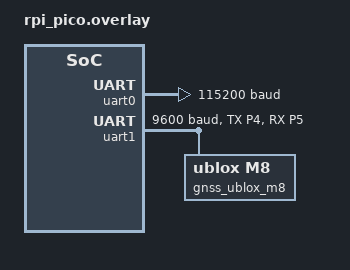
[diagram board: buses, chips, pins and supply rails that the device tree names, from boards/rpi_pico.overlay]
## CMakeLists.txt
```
cmake_minimum_required(VERSION 3.20)

find_package(Zephyr REQUIRED HINTS $ENV{ZEPHYR_BASE})
project(test_rpi_pico_ublox_gnss_dma)

target_sources(app PRIVATE src/main.c)
```

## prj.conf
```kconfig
CONFIG_PRINTK=y
CONFIG_LOG=y
CONFIG_LOG_DEFAULT_LEVEL=3

CONFIG_SERIAL=y
CONFIG_UART_ASYNC_API=y
CONFIG_UART_LINE_CTRL=y
CONFIG_UART_CONSOLE=y

CONFIG_TIMING_FUNCTIONS=y

CONFIG_DMA=y

CONFIG_RING_BUFFER=y
```

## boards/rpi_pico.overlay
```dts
/ {
    chosen {
        zephyr,console = &uart0;
        zephyr,shell-uart = &uart0;
        zephyr,gnss-uart = &uart1;
    };
};

&uart0 {
    status = "okay";
    current-speed = <115200>;
};

&uart1 {
    status = "okay";
    current-speed = <9600>;
    dma-coherent;

    pinctrl-0 = <&uart1_default>;
    pinctrl-names = "default";

    gnss_ublox_m8: ublox_m8 {
        compatible = "ublox,m8";
        status = "okay";
    };
};

&pinctrl {
    uart1_default: uart_default {
        group1 {
            pinmux = <UART1_TX_P4>;
        };
        group2 {
            pinmux = <UART1_RX_P5>;
            input-enable;
        };
    };
};
```

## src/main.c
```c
#include <zephyr/kernel.h>
#include <zephyr/device.h>
#include <zephyr/drivers/uart.h>
#include <zephyr/logging/log.h>

#include <zephyr/timing/timing.h>

#include <string.h>

LOG_MODULE_REGISTER(main);

static const struct device *gnss_uart_dev = DEVICE_DT_GET(DT_CHOSEN(zephyr_gnss_uart));
static volatile uint32_t bytes_received = 0;
static volatile uint32_t sentence_parsed = 0;

RING_BUF_DECLARE(gnss_ringbuf, 512);
K_SEM_DEFINE(gnss_sem, 0, 1);

#define DMA_BUFFER_SIZE 128
static uint8_t uart_rx_buffer_a[DMA_BUFFER_SIZE];
static uint8_t uart_rx_buffer_b[DMA_BUFFER_SIZE];

static char line_buf[256];
static size_t line_pos = 0;
void gnss_parser_thread(void *arg1, void *arg2, void *arg3)
{
    uint8_t byte;
    while (1)
    {
        k_sem_take(&gnss_sem, K_FOREVER);

        // drain ring buffer
        while (ring_buf_get(&gnss_ringbuf, &byte, 1) > 0)
        {
            if (byte == '$')
            {
                /* Start of new NMEA sentence */
                line_pos = 0;
                line_buf[line_pos++] = byte;
            }
            else if ((byte == '\n') && (line_pos > 0))
            {
                line_buf[line_pos] = '\0';

                // Pass to NMEA parser library
                LOG_INF("NMEA: %s", line_buf);
                // nmea_parser.feed(line_buf, line_pos);
                
                sentence_parsed++;
                line_pos = 0;
            }
            else if (line_pos > 0 && line_pos < sizeof(line_buf) - 1)
            {
                line_buf[line_pos++] = byte;
            }
        }
    }
}

K_THREAD_DEFINE(gnss_parser_thread_id, 2048, gnss_parser_thread, NULL, NULL, NULL, 7, 0, 0);

static void uart_async_callback(const struct device *dev, struct uart_event *evt, void *user_data)
{
    int ret = 0;
    uint32_t written = 0;
    switch (evt->type)
    {
    case UART_RX_RDY:
        // push received data to ring buffer
        if (evt->data.rx.len > 0)
        {
            written = ring_buf_put(
                &gnss_ringbuf,
                &evt->data.rx.buf[evt->data.rx.offset],
                evt->data.rx.len
            );

            if (written < evt->data.rx.len)
            {
                LOG_WRN("Ring buffer overflow, lost %u bytes", evt->data.rx.len - written);
            }

            bytes_received += written;
            k_sem_give(&gnss_sem);
        }
        break;
    case UART_RX_BUF_REQUEST:
        // provide next buffer
        if (evt->data.rx.buf == uart_rx_buffer_a)
        {
            ret = uart_rx_buf_rsp(dev, uart_rx_buffer_b, DMA_BUFFER_SIZE);
            if (ret != 0)
            {
                LOG_ERR("Failed to provide next UART RX buffer: %d", ret);
            }
        }
        else
        {
            ret = uart_rx_buf_rsp(dev, uart_rx_buffer_a, DMA_BUFFER_SIZE);
            if (ret != 0)
            {
                LOG_ERR("Failed to provide next UART RX buffer: %d", ret);
            }
        }
        break;
    case UART_RX_BUF_RELEASED:
        break;
    case UART_RX_STOPPED:
        // restart uart rx
        ret = uart_rx_enable(dev, uart_rx_buffer_a, DMA_BUFFER_SIZE, SYS_FOREVER_MS);
        if (ret != 0)
        {
            LOG_ERR("Failed to restart UART RX: %d", ret);
        }
        break;
    default:
        break;
    }
}

int main(void)
{
    LOG_INF("=== UART GPS Demo (DMA) ===");
    LOG_INF("Expecting Ublox M8 on UART1 (GPIO4/5) at 9600 baud");

    timing_init();  // Initialize the timing subsystem
    timing_start(); // Start timing measurement

    if (!device_is_ready(gnss_uart_dev))
    {
        LOG_ERR("GNSS UART device not ready");
        return -1;
    }

    // setup UART DMA RX (async API)
    int ret = uart_callback_set(gnss_uart_dev, uart_async_callback, NULL);
    if (ret != 0)
    {
        LOG_ERR("Failed to set UART callback: %d", ret);
        return -1;
    }

    ret = uart_rx_enable(gnss_uart_dev, uart_rx_buffer_a, DMA_BUFFER_SIZE, SYS_FOREVER_MS);
    if (ret != 0)
    {
        LOG_ERR("Failed to enable UART RX: %d", ret);
        return -1;
    }

    while (1)
    {
        k_sleep(K_SECONDS(5));
        LOG_INF("Bytes received: %u, Sentences parsed: %u", bytes_received, sentence_parsed);
    }
    return 0;
}
```
